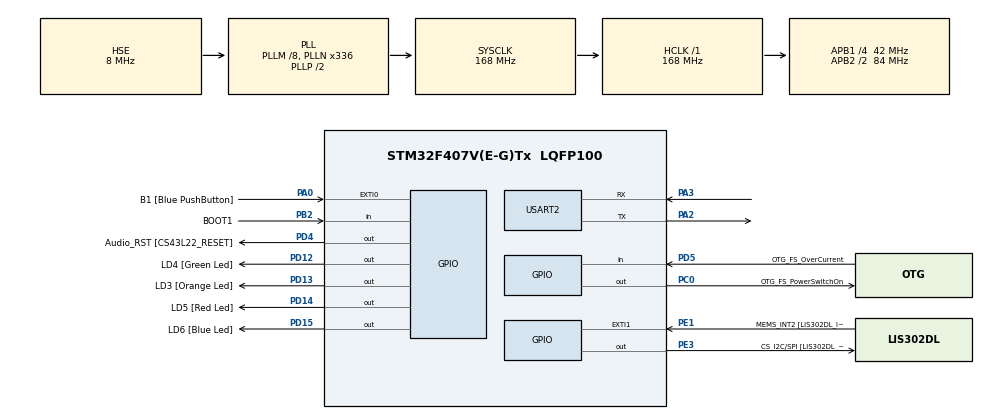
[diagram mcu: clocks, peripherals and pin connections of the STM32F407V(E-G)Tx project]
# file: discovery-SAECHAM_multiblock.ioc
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Mcu.Family=STM32F4
Mcu.Name=STM32F407V(E-G)Tx
Mcu.Package=LQFP100
NVIC.PriorityGroup=NVIC_PRIORITYGROUP_0
PA0-WKUP.GPIO_Label=B1 [Blue PushButton]
PA0-WKUP.GPIO_ModeDefaultEXTI=GPIO_MODE_EVT_RISING
PA0-WKUP.GPIO_PuPd=GPIO_NOPULL
PA0-WKUP.Signal=GPXTI0
PA10.GPIO_Label=OTG_FS_ID
PA10.GPIO_Mode=GPIO_MODE_AF_PP
PA10.GPIO_PuPd=GPIO_NOPULL
PA10.GPIO_Speed=GPIO_SPEED_FREQ_LOW
PA10.Signal=USB_OTG_FS_ID
PA11.GPIO_Label=OTG_FS_DM
PA11.GPIO_Mode=GPIO_MODE_AF_PP
PA11.GPIO_PuPd=GPIO_NOPULL
PA11.GPIO_Speed=GPIO_SPEED_FREQ_LOW
PA11.Signal=USB_OTG_FS_DM
PA12.GPIO_Label=OTG_FS_DP
PA12.GPIO_Mode=GPIO_MODE_AF_PP
PA12.GPIO_PuPd=GPIO_NOPULL
PA12.GPIO_Speed=GPIO_SPEED_FREQ_LOW
PA12.Signal=USB_OTG_FS_DP
PA13.GPIO_Label=SWDIO
PA13.Mode=Serial_Wire
PA13.Signal=SYS_JTMS-SWDIO
PA14.GPIO_Label=SWCLK
PA14.Mode=Serial_Wire
PA14.Signal=SYS_JTCK-SWCLK
PA2.Mode=Asynchronous
PA2.Signal=USART2_TX
PA3.Mode=Asynchronous
PA3.Signal=USART2_RX
PA4.GPIO_Label=I2S3_WS [CS43L22_LRCK]
PA4.GPIO_Mode=GPIO_MODE_AF_PP
PA4.GPIO_PuPd=GPIO_NOPULL
PA4.GPIO_Speed=GPIO_SPEED_FREQ_LOW
PA4.Signal=I2S3_WS
PA5.GPIO_Label=SPI1_SCK [LIS302DL_SCL/SPC]
PA5.GPIO_Mode=GPIO_MODE_AF_PP
PA5.GPIO_PuPd=GPIO_NOPULL
PA5.GPIO_Speed=GPIO_SPEED_FREQ_LOW
PA5.Signal=SPI1_SCK
PA6.GPIO_Label=SPI1_MISO [LIS302DL_SDO]
PA6.GPIO_Mode=GPIO_MODE_AF_PP
PA6.GPIO_PuPd=GPIO_NOPULL
PA6.GPIO_Speed=GPIO_SPEED_FREQ_LOW
PA6.Signal=SPI1_MISO
PA7.GPIO_Label=SPI1_MOSI [LIS302DL_SDA/SDI/SDO]
PA7.GPIO_Mode=GPIO_MODE_AF_PP
PA7.GPIO_PuPd=GPIO_NOPULL
PA7.GPIO_Speed=GPIO_SPEED_FREQ_LOW
PA7.Signal=SPI1_MOSI
PA9.GPIO_Label=VBUS_FS
PA9.GPIO_Mode=GPIO_MODE_INPUT
PA9.GPIO_PuPd=GPIO_NOPULL
PA9.Signal=USB_OTG_FS_VBUS
PB10.GPIO_Label=CLK_IN [MP45DT02_CLK]
PB10.GPIO_Mode=GPIO_MODE_AF_PP
PB10.GPIO_PuPd=GPIO_NOPULL
PB10.GPIO_Speed=GPIO_SPEED_FREQ_LOW
PB10.Signal=I2S2_CK
PB2.GPIO_Label=BOOT1
PB2.GPIO_Mode=GPIO_MODE_INPUT
PB2.GPIO_PuPd=GPIO_NOPULL
PB2.Signal=GPIO_Input
PB3.GPIO_Label=SWO
PB3.Signal=SYS_JTDO-SWO
PB6.GPIO_Label=Audio_SCL [CS43L22_SCL]
PB6.GPIO_Mode=GPIO_MODE_AF_OD
PB6.GPIO_Pu=GPIO_PULLUP
PB6.GPIO_PuPd=GPIO_NOPULL
PB6.GPIO_Speed=GPIO_SPEED_FREQ_LOW
PB6.Signal=I2C1_SCL
PB9.GPIO_Label=Audio_SDA [CS43L22_SDA]
PB9.GPIO_Mode=GPIO_MODE_AF_OD
PB9.GPIO_Pu=GPIO_PULLUP
PB9.GPIO_PuPd=GPIO_NOPULL
PB9.GPIO_Speed=GPIO_SPEED_FREQ_LOW
PB9.Signal=I2C1_SDA
PC0.GPIO_Label=OTG_FS_PowerSwitchOn
PC0.GPIO_PuPd=GPIO_NOPULL
PC0.GPIO_Speed=GPIO_SPEED_FREQ_LOW
PC0.PinState=GPIO_PIN_SET
PC0.Signal=GPIO_Output
PC10.GPIO_Label=I2S3_SCK [CS43L22_SCLK]
PC10.GPIO_Mode=GPIO_MODE_AF_PP
PC10.GPIO_PuPd=GPIO_NOPULL
PC10.GPIO_Speed=GPIO_SPEED_FREQ_LOW
PC10.Signal=I2S3_CK
PC12.GPIO_Label=I2S3_SD [CS43L22_SDIN]
PC12.GPIO_Mode=GPIO_MODE_AF_PP
PC12.GPIO_PuPd=GPIO_NOPULL
PC12.GPIO_Speed=GPIO_SPEED_FREQ_LOW
PC12.Signal=I2S3_SD
PC14-OSC32_IN.GPIO_Label=PC14-OSC32_IN
PC14-OSC32_IN.Mode=LSE-External-Oscillator
PC14-OSC32_IN.Signal=RCC_OSC32_IN
PC15-OSC32_OUT.GPIO_Label=PC15-OSC32_OUT
PC15-OSC32_OUT.Mode=LSE-External-Oscillator
PC15-OSC32_OUT.Signal=RCC_OSC32_OUT
PC3.GPIO_Label=PDM_OUT [MP45DT02_DOUT]
PC3.GPIO_Mode=GPIO_MODE_AF_PP
PC3.GPIO_PuPd=GPIO_NOPULL
PC3.GPIO_Speed=GPIO_SPEED_FREQ_LOW
PC3.Signal=I2S2_SD
PC7.GPIO_Label=I2S3_MCK [CS43L22_MCLK]
PC7.GPIO_Mode=GPIO_MODE_AF_PP
PC7.GPIO_PuPd=GPIO_NOPULL
PC7.GPIO_Speed=GPIO_SPEED_FREQ_LOW
PC7.Signal=I2S3_MCK
PD12.GPIO_Label=LD4 [Green Led]
PD12.GPIO_PuPd=GPIO_NOPULL
PD12.GPIO_Speed=GPIO_SPEED_FREQ_LOW
PD12.Signal=GPIO_Output
PD13.GPIO_Label=LD3 [Orange Led]
PD13.GPIO_PuPd=GPIO_NOPULL
PD13.GPIO_Speed=GPIO_SPEED_FREQ_LOW
PD13.Signal=GPIO_Output
PD14.GPIO_Label=LD5 [Red Led]
PD14.GPIO_PuPd=GPIO_NOPULL
PD14.GPIO_Speed=GPIO_SPEED_FREQ_LOW
PD14.Signal=GPIO_Output
PD15.GPIO_Label=LD6 [Blue Led]
PD15.GPIO_PuPd=GPIO_NOPULL
PD15.GPIO_Speed=GPIO_SPEED_FREQ_LOW
PD15.Signal=GPIO_Output
PD4.GPIO_Label=Audio_RST [CS43L22_RESET]
PD4.GPIO_PuPd=GPIO_NOPULL
PD4.GPIO_Speed=GPIO_SPEED_FREQ_LOW
PD4.Signal=GPIO_Output
PD5.GPIO_Label=OTG_FS_OverCurrent
PD5.GPIO_Mode=GPIO_MODE_INPUT
PD5.GPIO_PuPd=GPIO_NOPULL
PD5.Signal=GPIO_Input
PE1.GPIO_Label=MEMS_INT2 [LIS302DL_INT2]
PE1.GPIO_ModeDefaultEXTI=GPIO_MODE_EVT_RISING
PE1.GPIO_PuPd=GPIO_NOPULL
PE1.Signal=GPXTI1
PE3.GPIO_Label=CS_I2C/SPI [LIS302DL_CS_I2C/SPI]
PE3.GPIO_PuPd=GPIO_NOPULL
PE3.GPIO_Speed=GPIO_SPEED_FREQ_LOW
PE3.Signal=GPIO_Output
PH0-OSC_IN.GPIO_Label=PH0-OSC_IN
PH0-OSC_IN.Mode=HSE-External-Oscillator
PH0-OSC_IN.Signal=RCC_OSC_IN
PH1-OSC_OUT.GPIO_Label=PH1-OSC_OUT
PH1-OSC_OUT.Mode=HSE-External-Oscillator
PH1-OSC_OUT.Signal=RCC_OSC_OUT
ProjectManager.HeapSize=0x200
ProjectManager.StackSize=0x400
ProjectManager.TargetToolchain=STM32CubeIDE
RCC.48MHZClocksFreq_Value=48000000
RCC.AHBFreq_Value=168000000
RCC.APB1CLKDivider=RCC_HCLK_DIV4
RCC.APB1Freq_Value=42000000
RCC.APB1TimFreq_Value=84000000
RCC.APB2CLKDivider=RCC_HCLK_DIV2
RCC.APB2Freq_Value=84000000
RCC.APB2TimFreq_Value=168000000
RCC.CortexFreq_Value=168000000
RCC.HCLKFreq_Value=168000000
RCC.HSE_VALUE=8000000
RCC.HSI_VALUE=16000000
RCC.PLLM=8
RCC.PLLN=336
RCC.PLLQ=7
RCC.PLLSourceVirtual=RCC_PLLSOURCE_HSE
RCC.SYSCLKFreq_VALUE=168000000
RCC.SYSCLKSource=RCC_SYSCLKSOURCE_PLLCLK
RCC.VCOOutputFreq_Value=336000000
USART2.VirtualMode=VM_ASYNC
board=STM32F407G-DISC1

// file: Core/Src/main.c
/* USER CODE BEGIN Header */
/**
  ******************************************************************************
  * @file           : main.c
  * @brief          : Main program body
  ******************************************************************************
  * @attention
  *
  * Copyright (c) 2025 STMicroelectronics.
  * All rights reserved.
  *
  * This software is licensed under terms that can be found in the LICENSE file
  * in the root directory of this software component.
  * If no LICENSE file comes with this software, it is provided AS-IS.
  *
  ******************************************************************************
  */
/* USER CODE END Header */
#include "main.h"

/* USER CODE BEGIN Includes */
#include <stdio.h>
#include <string.h>
#include <stdint.h>

uint16_t rk[16] = {0x0301, 0x0705, 0x0B09, 0x0F0D,
				   0x1311, 0x1715, 0x1B19, 0x1F1D,
				   0x151E, 0x0308, 0x3932, 0x2F24,
				   0x4D46, 0x5B50, 0x616A, 0x777C};

uint16_t pt[8] = {0x1100, 0x3322, 0x5544, 0x7766, 0x1234, 0x5678, 0x9ABC, 0xDEF0};
uint16_t ct[8];

#include "stm32f4xx.h"

void DWT_Init(void)
{
    // DWT init cycle counter
    CoreDebug->DEMCR |= CoreDebug_DEMCR_TRCENA_Msk; // Trace Enable
    DWT->CYCCNT = 0;                               // Reset counter
    DWT->CTRL |= DWT_CTRL_CYCCNTENA_Msk;           // Enable CYCCNT
}
/* USER CODE END Includes */

UART_HandleTypeDef huart2;

void SystemClock_Config(void);
static void MX_GPIO_Init(void);
static void MX_USART2_UART_Init(void);
/* USER CODE BEGIN PFP */
#ifdef __GNUC__
 #define PUTCHAR_PROTOTYPE int __io_putchar(int ch)
#else
 #define PUTCHAR_PROTOTYPE int fputc(int ch, FILE *f)
#endif
/* USER CODE END PFP */

/* USER CODE BEGIN 0 */
extern void SAECHAM_enc_multiblock_v1(const uint16_t* pt, uint16_t* ct, uint16_t* rk);
extern void SAECHAM_enc_multiblock_v2(const uint16_t* pt, uint16_t* ct, uint16_t* rk);
extern void SAECHAM_enc_multiblock_v3(const uint16_t* pt, uint16_t* ct, uint16_t* rk);
extern void SAECHAM_enc_multiblock_v4(const uint16_t* pt, uint16_t* ct, uint16_t* rk);
extern void SAECHAM_enc_multiblock_v5(const uint16_t* pt, uint16_t* ct, uint16_t* rk);
extern void SAECHAM_enc_multiblock_v6(const uint16_t* pt, uint16_t* ct, uint16_t* rk);
extern void SAECHAM_enc_multiblock_v7(const uint16_t* pt, uint16_t* ct, uint16_t* rk);
extern void SAECHAM_enc_multiblock_v8(const uint16_t* pt, uint16_t* ct, uint16_t* rk);
extern void SAECHAM_enc_multiblock_v9(const uint16_t* pt, uint16_t* ct, uint16_t* rk);
extern void SAECHAM_enc_multiblock_v10(const uint16_t* pt, uint16_t* ct, uint16_t* rk);

int __io_putchar(int ch)
{
	HAL_UART_Transmit(&huart2, (uint8_t*)&ch, 1, 100);
	return ch;
}

void Send_string_To_UART(char* sname, int len)
{
	HAL_UART_Transmit(&huart2, (uint8_t*)sname, len, HAL_MAX_DELAY);
}
void Send_Cycles_To_UART(uint32_t cycles)
{
    char buffer[50];
    int len = sprintf(buffer, "Clock cycles: %lu\r\n", cycles);
    HAL_UART_Transmit(&huart2, (uint8_t*)buffer, len, HAL_MAX_DELAY);
}

void Send_block_To_UART(uint16_t* In_text)
{
	char buffer[50];
	    int len = sprintf(buffer, "0x%04x 0x%04x 0x%04x 0x%04x\r\n",
	    		In_text[0], In_text[1], In_text[2], In_text[3]);
	    HAL_UART_Transmit(&huart2, (uint8_t*)buffer, len, HAL_MAX_DELAY);
}
/* USER CODE END 0 */

int main(void)
{
  /* USER CODE BEGIN 1 */
	SystemCoreClockUpdate();
	DWT_Init();

	unsigned int start, end, cycles, interv;
  /* USER CODE END 1 */

  /* MCU Configuration--------------------------------------------------------*/

  /* Reset of all peripherals, Initializes the Flash interface and the Systick. */
  HAL_Init();

  /* Configure the system clock */
  SystemClock_Config();

  /* Initialize all configured peripherals */
  MX_GPIO_Init();
  MX_USART2_UART_Init();

  /* Infinite loop */
  while (1)
  {

    /* USER CODE BEGIN 3 */
	  start = DWT->CYCCNT;
	  end = DWT->CYCCNT;
	  interv = end - start;
	  printf("interv clock cycles : %u\r\n", interv);
	  HAL_Delay(500);

	  start = DWT->CYCCNT;
	  SAECHAM_enc_multiblock_v1(pt, ct, rk);
	  end = DWT->CYCCNT;
	  cycles = end - start;
	  printf("SAECHAM_enc_multiblock_v1 clock cycles : %u\r\n", cycles-interv);
	  printf("0x%04X 0x%04X 0x%04X 0x%04X\r\n", ct[0], ct[1], ct[2], ct[3]);
	  printf("0x%04X 0x%04X 0x%04X 0x%04X\r\n", ct[4], ct[5], ct[6], ct[7]);
	  HAL_Delay(500);

	  start = DWT->CYCCNT;
	  SAECHAM_enc_multiblock_v2(pt, ct, rk);
	  end = DWT->CYCCNT;
	  cycles = end - start;
	  printf("SAECHAM_enc_multiblock_v2 clock cycles : %u\r\n", cycles-interv);
	  printf("0x%04X 0x%04X 0x%04X 0x%04X\r\n", ct[0], ct[1], ct[2], ct[3]);
	  printf("0x%04X 0x%04X 0x%04X 0x%04X\r\n", ct[4], ct[5], ct[6], ct[7]);
	  HAL_Delay(500);

	  start = DWT->CYCCNT;
	  SAECHAM_enc_multiblock_v3(pt, ct, rk);
	  end = DWT->CYCCNT;
	  cycles = end - start;
	  printf("SAECHAM_enc_multiblock_v3 clock cycles : %u\r\n", cycles-interv);
	  printf("0x%04X 0x%04X 0x%04X 0x%04X\r\n", ct[0], ct[1], ct[2], ct[3]);
	  printf("0x%04X 0x%04X 0x%04X 0x%04X\r\n", ct[4], ct[5], ct[6], ct[7]);
	  HAL_Delay(500);

	  start = DWT->CYCCNT;
	  SAECHAM_enc_multiblock_v4(pt, ct, rk);
	  end = DWT->CYCCNT;
	  cycles = end - start;
	  printf("SAECHAM_enc_multiblock_v4 clock cycles : %u\r\n", cycles-interv);
	  printf("0x%04X 0x%04X 0x%04X 0x%04X\r\n", ct[0], ct[1], ct[2], ct[3]);
	  printf("0x%04X 0x%04X 0x%04X 0x%04X\r\n", ct[4], ct[5], ct[6], ct[7]);
	  HAL_Delay(500);

	  start = DWT->CYCCNT;
	  SAECHAM_enc_multiblock_v5(pt, ct, rk);
	  end = DWT->CYCCNT;
	  cycles = end - start;
	  printf("SAECHAM_enc_multiblock_v5 clock cycles : %u\r\n", cycles-interv);
	  printf("0x%04X 0x%04X 0x%04X 0x%04X\r\n", ct[0], ct[1], ct[2], ct[3]);
	  printf("0x%04X 0x%04X 0x%04X 0x%04X\r\n", ct[4], ct[5], ct[6], ct[7]);
	  HAL_Delay(500);

	  start = DWT->CYCCNT;
	  SAECHAM_enc_multiblock_v6(pt, ct, rk);
	  end = DWT->CYCCNT;
	  cycles = end - start;
	  printf("SAECHAM_enc_multiblock_v6 clock cycles : %u\r\n", cycles-interv);
	  printf("0x%04X 0x%04X 0x%04X 0x%04X\r\n", ct[0], ct[1], ct[2], ct[3]);
	  printf("0x%04X 0x%04X 0x%04X 0x%04X\r\n", ct[4], ct[5], ct[6], ct[7]);
	  HAL_Delay(500);

	  start = DWT->CYCCNT;
	  SAECHAM_enc_multiblock_v7(pt, ct, rk);
	  end = DWT->CYCCNT;
	  cycles = end - start;
	  printf("SAECHAM_enc_multiblock_v7 clock cycles : %u\r\n", cycles-interv);
	  printf("0x%04X 0x%04X 0x%04X 0x%04X\r\n", ct[0], ct[1], ct[2], ct[3]);
	  printf("0x%04X 0x%04X 0x%04X 0x%04X\r\n", ct[4], ct[5], ct[6], ct[7]);
	  HAL_Delay(500);

	  start = DWT->CYCCNT;
	  SAECHAM_enc_multiblock_v8(pt, ct, rk);
	  end = DWT->CYCCNT;
	  cycles = end - start;
	  printf("SAECHAM_enc_multiblock_v8 clock cycles : %u\r\n", cycles-interv);
	  printf("0x%04X 0x%04X 0x%04X 0x%04X\r\n", ct[0], ct[1], ct[2], ct[3]);
	  printf("0x%04X 0x%04X 0x%04X 0x%04X\r\n", ct[4], ct[5], ct[6], ct[7]);
	  HAL_Delay(500);

	  start = DWT->CYCCNT;
	  SAECHAM_enc_multiblock_v9(pt, ct, rk);
	  end = DWT->CYCCNT;
	  cycles = end - start;
	  printf("SAECHAM_enc_multiblock_v9 clock cycles : %u\r\n", cycles-interv);
	  printf("0x%04X 0x%04X 0x%04X 0x%04X\r\n", ct[0], ct[1], ct[2], ct[3]);
	  printf("0x%04X 0x%04X 0x%04X 0x%04X\r\n", ct[4], ct[5], ct[6], ct[7]);
	  HAL_Delay(500);

	  start = DWT->CYCCNT;
	  SAECHAM_enc_multiblock_v10(pt, ct, rk);
	  end = DWT->CYCCNT;
	  cycles = end - start;
	  printf("SAECHAM_enc_multiblock_v10 clock cycles : %u\r\n", cycles-interv);
	  printf("0x%04X 0x%04X 0x%04X 0x%04X\r\n", ct[0], ct[1], ct[2], ct[3]);
	  printf("0x%04X 0x%04X 0x%04X 0x%04X\r\n", ct[4], ct[5], ct[6], ct[7]);
	  HAL_Delay(500);

	  HAL_Delay(1000);

  }
  /* USER CODE END 3 */
}

void SystemClock_Config(void)
{
  RCC_OscInitTypeDef RCC_OscInitStruct = {0};
  RCC_ClkInitTypeDef RCC_ClkInitStruct = {0};

  /** Configure the main internal regulator output voltage
  */
  __HAL_RCC_PWR_CLK_ENABLE();
  __HAL_PWR_VOLTAGESCALING_CONFIG(PWR_REGULATOR_VOLTAGE_SCALE1);

  /** Initializes the RCC Oscillators according to the specified parameters
  * in the RCC_OscInitTypeDef structure.
  */
  RCC_OscInitStruct.OscillatorType = RCC_OSCILLATORTYPE_HSE;
  RCC_OscInitStruct.HSEState = RCC_HSE_ON;
  RCC_OscInitStruct.PLL.PLLState = RCC_PLL_ON;
  RCC_OscInitStruct.PLL.PLLSource = RCC_PLLSOURCE_HSE;
  RCC_OscInitStruct.PLL.PLLM = 8;
  RCC_OscInitStruct.PLL.PLLN = 336;
  RCC_OscInitStruct.PLL.PLLP = RCC_PLLP_DIV2;
  RCC_OscInitStruct.PLL.PLLQ = 7;
  if (HAL_RCC_OscConfig(&RCC_OscInitStruct) != HAL_OK)
  {
    Error_Handler();
  }

  /** Initializes the CPU, AHB and APB buses clocks
  */
  RCC_ClkInitStruct.ClockType = RCC_CLOCKTYPE_HCLK|RCC_CLOCKTYPE_SYSCLK
                              |RCC_CLOCKTYPE_PCLK1|RCC_CLOCKTYPE_PCLK2;
  RCC_ClkInitStruct.SYSCLKSource = RCC_SYSCLKSOURCE_PLLCLK;
  RCC_ClkInitStruct.AHBCLKDivider = RCC_SYSCLK_DIV1;
  RCC_ClkInitStruct.APB1CLKDivider = RCC_HCLK_DIV4;
  RCC_ClkInitStruct.APB2CLKDivider = RCC_HCLK_DIV2;

  if (HAL_RCC_ClockConfig(&RCC_ClkInitStruct, FLASH_LATENCY_5) != HAL_OK)
  {
    Error_Handler();
  }
}

static void MX_USART2_UART_Init(void)
{

  huart2.Instance = USART2;
  huart2.Init.BaudRate = 115200;
  huart2.Init.WordLength = UART_WORDLENGTH_8B;
  huart2.Init.StopBits = UART_STOPBITS_1;
  huart2.Init.Parity = UART_PARITY_NONE;
  huart2.Init.Mode = UART_MODE_TX_RX;
  huart2.Init.HwFlowCtl = UART_HWCONTROL_NONE;
  huart2.Init.OverSampling = UART_OVERSAMPLING_16;
  if (HAL_UART_Init(&huart2) != HAL_OK)
  {
    Error_Handler();
  }

}

static void MX_GPIO_Init(void)
{
  GPIO_InitTypeDef GPIO_InitStruct = {0};

  /* GPIO Ports Clock Enable */
  __HAL_RCC_GPIOE_CLK_ENABLE();
  __HAL_RCC_GPIOC_CLK_ENABLE();
  __HAL_RCC_GPIOH_CLK_ENABLE();
  __HAL_RCC_GPIOA_CLK_ENABLE();
  __HAL_RCC_GPIOB_CLK_ENABLE();
  __HAL_RCC_GPIOD_CLK_ENABLE();

  /*Configure GPIO pin Output Level */
  HAL_GPIO_WritePin(CS_I2C_SPI_GPIO_Port, CS_I2C_SPI_Pin, GPIO_PIN_RESET);

  /*Configure GPIO pin Output Level */
  HAL_GPIO_WritePin(OTG_FS_PowerSwitchOn_GPIO_Port, OTG_FS_PowerSwitchOn_Pin, GPIO_PIN_SET);

  /*Configure GPIO pin Output Level */
  HAL_GPIO_WritePin(GPIOD, LD4_Pin|LD3_Pin|LD5_Pin|LD6_Pin
                          |Audio_RST_Pin, GPIO_PIN_RESET);

  /*Configure GPIO pin : CS_I2C_SPI_Pin */
  GPIO_InitStruct.Pin = CS_I2C_SPI_Pin;
  GPIO_InitStruct.Mode = GPIO_MODE_OUTPUT_PP;
  GPIO_InitStruct.Pull = GPIO_NOPULL;
  GPIO_InitStruct.Speed = GPIO_SPEED_FREQ_LOW;
  HAL_GPIO_Init(CS_I2C_SPI_GPIO_Port, &GPIO_InitStruct);

  /*Configure GPIO pin : OTG_FS_PowerSwitchOn_Pin */
  GPIO_InitStruct.Pin = OTG_FS_PowerSwitchOn_Pin;
  GPIO_InitStruct.Mode = GPIO_MODE_OUTPUT_PP;
  GPIO_InitStruct.Pull = GPIO_NOPULL;
  GPIO_InitStruct.Speed = GPIO_SPEED_FREQ_LOW;
  HAL_GPIO_Init(OTG_FS_PowerSwitchOn_GPIO_Port, &GPIO_InitStruct);

  /*Configure GPIO pin : PDM_OUT_Pin */
  GPIO_InitStruct.Pin = PDM_OUT_Pin;
  GPIO_InitStruct.Mode = GPIO_MODE_AF_PP;
  GPIO_InitStruct.Pull = GPIO_NOPULL;
  GPIO_InitStruct.Speed = GPIO_SPEED_FREQ_LOW;
  GPIO_InitStruct.Alternate = GPIO_AF5_SPI2;
  HAL_GPIO_Init(PDM_OUT_GPIO_Port, &GPIO_InitStruct);

  /*Configure GPIO pin : B1_Pin */
  GPIO_InitStruct.Pin = B1_Pin;
  GPIO_InitStruct.Mode = GPIO_MODE_EVT_RISING;
  GPIO_InitStruct.Pull = GPIO_NOPULL;
  HAL_GPIO_Init(B1_GPIO_Port, &GPIO_InitStruct);

  /*Configure GPIO pin : I2S3_WS_Pin */
  GPIO_InitStruct.Pin = I2S3_WS_Pin;
  GPIO_InitStruct.Mode = GPIO_MODE_AF_PP;
  GPIO_InitStruct.Pull = GPIO_NOPULL;
  GPIO_InitStruct.Speed = GPIO_SPEED_FREQ_LOW;
  GPIO_InitStruct.Alternate = GPIO_AF6_SPI3;
  HAL_GPIO_Init(I2S3_WS_GPIO_Port, &GPIO_InitStruct);

  /*Configure GPIO pins : SPI1_SCK_Pin SPI1_MISO_Pin SPI1_MOSI_Pin */
  GPIO_InitStruct.Pin = SPI1_SCK_Pin|SPI1_MISO_Pin|SPI1_MOSI_Pin;
  GPIO_InitStruct.Mode = GPIO_MODE_AF_PP;
  GPIO_InitStruct.Pull = GPIO_NOPULL;
  GPIO_InitStruct.Speed = GPIO_SPEED_FREQ_LOW;
  GPIO_InitStruct.Alternate = GPIO_AF5_SPI1;
  HAL_GPIO_Init(GPIOA, &GPIO_InitStruct);

  /*Configure GPIO pin : BOOT1_Pin */
  GPIO_InitStruct.Pin = BOOT1_Pin;
  GPIO_InitStruct.Mode = GPIO_MODE_INPUT;
  GPIO_InitStruct.Pull = GPIO_NOPULL;
  HAL_GPIO_Init(BOOT1_GPIO_Port, &GPIO_InitStruct);

  /*Configure GPIO pin : CLK_IN_Pin */
  GPIO_InitStruct.Pin = CLK_IN_Pin;
  GPIO_InitStruct.Mode = GPIO_MODE_AF_PP;
  GPIO_InitStruct.Pull = GPIO_NOPULL;
  GPIO_InitStruct.Speed = GPIO_SPEED_FREQ_LOW;
  GPIO_InitStruct.Alternate = GPIO_AF5_SPI2;
  HAL_GPIO_Init(CLK_IN_GPIO_Port, &GPIO_InitStruct);

  /*Configure GPIO pins : LD4_Pin LD3_Pin LD5_Pin LD6_Pin
                           Audio_RST_Pin */
  GPIO_InitStruct.Pin = LD4_Pin|LD3_Pin|LD5_Pin|LD6_Pin
                          |Audio_RST_Pin;
  GPIO_InitStruct.Mode = GPIO_MODE_OUTPUT_PP;
  GPIO_InitStruct.Pull = GPIO_NOPULL;
  GPIO_InitStruct.Speed = GPIO_SPEED_FREQ_LOW;
  HAL_GPIO_Init(GPIOD, &GPIO_InitStruct);

  /*Configure GPIO pins : I2S3_MCK_Pin I2S3_SCK_Pin I2S3_SD_Pin */
  GPIO_InitStruct.Pin = I2S3_MCK_Pin|I2S3_SCK_Pin|I2S3_SD_Pin;
  GPIO_InitStruct.Mode = GPIO_MODE_AF_PP;
  GPIO_InitStruct.Pull = GPIO_NOPULL;
  GPIO_InitStruct.Speed = GPIO_SPEED_FREQ_LOW;
  GPIO_InitStruct.Alternate = GPIO_AF6_SPI3;
  HAL_GPIO_Init(GPIOC, &GPIO_InitStruct);

  /*Configure GPIO pin : VBUS_FS_Pin */
  GPIO_InitStruct.Pin = VBUS_FS_Pin;
  GPIO_InitStruct.Mode = GPIO_MODE_INPUT;
  GPIO_InitStruct.Pull = GPIO_NOPULL;
  HAL_GPIO_Init(VBUS_FS_GPIO_Port, &GPIO_InitStruct);

  /*Configure GPIO pins : OTG_FS_ID_Pin OTG_FS_DM_Pin OTG_FS_DP_Pin */
  GPIO_InitStruct.Pin = OTG_FS_ID_Pin|OTG_FS_DM_Pin|OTG_FS_DP_Pin;
  GPIO_InitStruct.Mode = GPIO_MODE_AF_PP;
  GPIO_InitStruct.Pull = GPIO_NOPULL;
  GPIO_InitStruct.Speed = GPIO_SPEED_FREQ_LOW;
  GPIO_InitStruct.Alternate = GPIO_AF10_OTG_FS;
  HAL_GPIO_Init(GPIOA, &GPIO_InitStruct);

  /*Configure GPIO pin : OTG_FS_OverCurrent_Pin */
  GPIO_InitStruct.Pin = OTG_FS_OverCurrent_Pin;
  GPIO_InitStruct.Mode = GPIO_MODE_INPUT;
  GPIO_InitStruct.Pull = GPIO_NOPULL;
  HAL_GPIO_Init(OTG_FS_OverCurrent_GPIO_Port, &GPIO_InitStruct);

  /*Configure GPIO pins : Audio_SCL_Pin Audio_SDA_Pin */
  GPIO_InitStruct.Pin = Audio_SCL_Pin|Audio_SDA_Pin;
  GPIO_InitStruct.Mode = GPIO_MODE_AF_OD;
  GPIO_InitStruct.Pull = GPIO_PULLUP;
  GPIO_InitStruct.Speed = GPIO_SPEED_FREQ_LOW;
  GPIO_InitStruct.Alternate = GPIO_AF4_I2C1;
  HAL_GPIO_Init(GPIOB, &GPIO_InitStruct);

  /*Configure GPIO pin : MEMS_INT2_Pin */
  GPIO_InitStruct.Pin = MEMS_INT2_Pin;
  GPIO_InitStruct.Mode = GPIO_MODE_EVT_RISING;
  GPIO_InitStruct.Pull = GPIO_NOPULL;
  HAL_GPIO_Init(MEMS_INT2_GPIO_Port, &GPIO_InitStruct);

}

void Error_Handler(void)
{
  __disable_irq();
  while (1)
  {
  }
}
